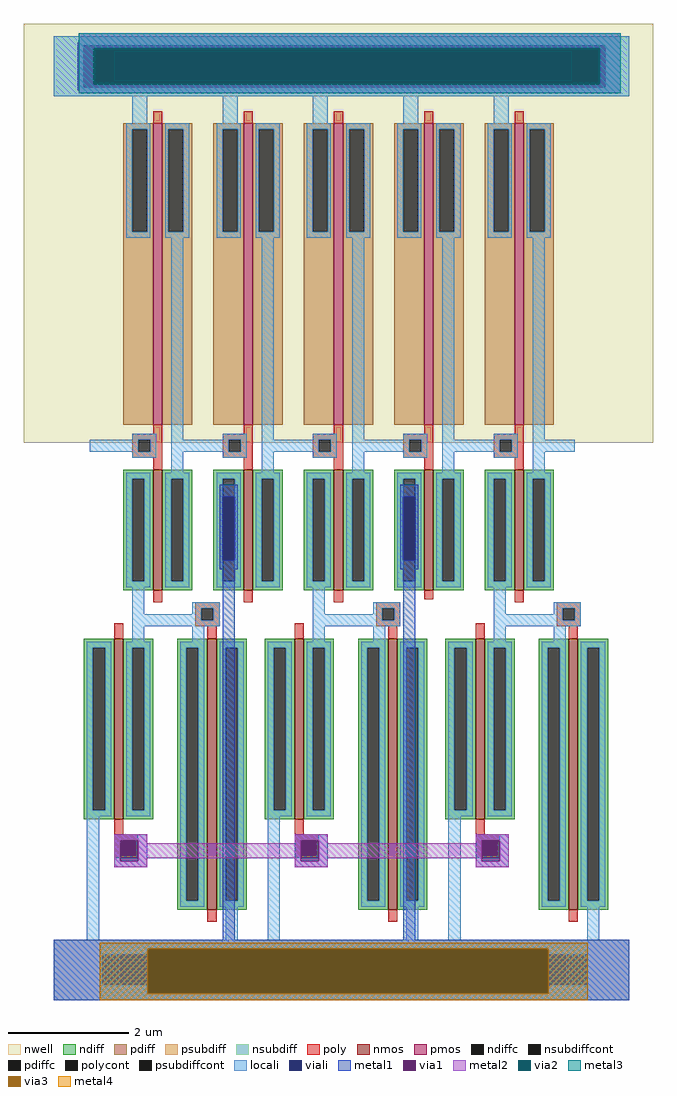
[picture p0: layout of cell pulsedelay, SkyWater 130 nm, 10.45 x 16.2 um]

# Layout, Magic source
magic
tech sky130A
<< nwell >>
rect -31 475 1014 1170
<< nmos >>
rect 184 230 199 430
rect 334 230 349 430
rect 484 230 499 430
rect 634 230 649 430
rect 784 230 799 430
rect 119 -150 134 150
rect 274 -300 289 150
rect 419 -150 434 150
rect 574 -300 589 150
rect 719 -150 734 150
rect 874 -300 889 150
<< pmos >>
rect 184 505 199 1005
rect 334 505 349 1005
rect 484 505 499 1005
rect 634 505 649 1005
rect 784 505 799 1005
<< ndiff >>
rect 134 415 184 430
rect 134 245 149 415
rect 169 245 184 415
rect 134 230 184 245
rect 199 415 249 430
rect 199 245 214 415
rect 234 245 249 415
rect 199 230 249 245
rect 284 415 334 430
rect 284 245 299 415
rect 319 245 334 415
rect 284 230 334 245
rect 349 415 399 430
rect 349 245 364 415
rect 384 245 399 415
rect 349 230 399 245
rect 434 415 484 430
rect 434 245 449 415
rect 469 245 484 415
rect 434 230 484 245
rect 499 415 549 430
rect 499 245 514 415
rect 534 245 549 415
rect 499 230 549 245
rect 584 415 634 430
rect 584 245 599 415
rect 619 245 634 415
rect 584 230 634 245
rect 649 415 699 430
rect 649 245 664 415
rect 684 245 699 415
rect 649 230 699 245
rect 734 415 784 430
rect 734 245 749 415
rect 769 245 784 415
rect 734 230 784 245
rect 799 415 849 430
rect 799 245 814 415
rect 834 245 849 415
rect 799 230 849 245
rect 69 135 119 150
rect 69 -135 84 135
rect 104 -135 119 135
rect 69 -150 119 -135
rect 134 135 184 150
rect 134 -135 149 135
rect 169 -135 184 135
rect 134 -150 184 -135
rect 224 135 274 150
rect 224 -285 239 135
rect 259 -285 274 135
rect 224 -300 274 -285
rect 289 135 339 150
rect 289 -285 304 135
rect 324 -285 339 135
rect 369 135 419 150
rect 369 -135 384 135
rect 404 -135 419 135
rect 369 -150 419 -135
rect 434 135 484 150
rect 434 -135 449 135
rect 469 -135 484 135
rect 434 -150 484 -135
rect 524 135 574 150
rect 289 -300 339 -285
rect 524 -285 539 135
rect 559 -285 574 135
rect 524 -300 574 -285
rect 589 135 639 150
rect 589 -285 604 135
rect 624 -285 639 135
rect 669 135 719 150
rect 669 -135 684 135
rect 704 -135 719 135
rect 669 -150 719 -135
rect 734 135 784 150
rect 734 -135 749 135
rect 769 -135 784 135
rect 734 -150 784 -135
rect 824 135 874 150
rect 589 -300 639 -285
rect 824 -285 839 135
rect 859 -285 874 135
rect 824 -300 874 -285
rect 889 135 939 150
rect 889 -285 904 135
rect 924 -285 939 135
rect 889 -300 939 -285
<< pdiff >>
rect 134 995 184 1005
rect 134 825 149 995
rect 174 825 184 995
rect 134 505 184 825
rect 199 995 249 1005
rect 199 825 209 995
rect 234 825 249 995
rect 199 505 249 825
rect 284 995 334 1005
rect 284 825 299 995
rect 324 825 334 995
rect 284 505 334 825
rect 349 995 399 1005
rect 349 825 359 995
rect 384 825 399 995
rect 349 505 399 825
rect 434 995 484 1005
rect 434 825 449 995
rect 474 825 484 995
rect 434 505 484 825
rect 499 995 549 1005
rect 499 825 509 995
rect 534 825 549 995
rect 499 505 549 825
rect 584 995 634 1005
rect 584 825 599 995
rect 624 825 634 995
rect 584 505 634 825
rect 649 995 699 1005
rect 649 825 659 995
rect 684 825 699 995
rect 649 505 699 825
rect 734 995 784 1005
rect 734 825 749 995
rect 774 825 784 995
rect 734 505 784 825
rect 799 995 849 1005
rect 799 825 809 995
rect 834 825 849 995
rect 799 505 849 825
<< ndiffc >>
rect 149 245 169 415
rect 214 245 234 415
rect 299 245 319 415
rect 364 245 384 415
rect 449 245 469 415
rect 514 245 534 415
rect 599 245 619 415
rect 664 245 684 415
rect 749 245 769 415
rect 814 245 834 415
rect 84 -135 104 135
rect 149 -135 169 135
rect 239 -285 259 135
rect 304 -285 324 135
rect 384 -135 404 135
rect 449 -135 469 135
rect 539 -285 559 135
rect 604 -285 624 135
rect 684 -135 704 135
rect 749 -135 769 135
rect 839 -285 859 135
rect 904 -285 924 135
<< pdiffc >>
rect 149 825 174 995
rect 209 825 234 995
rect 299 825 324 995
rect 359 825 384 995
rect 449 825 474 995
rect 509 825 534 995
rect 599 825 624 995
rect 659 825 684 995
rect 749 825 774 995
rect 809 825 834 995
<< psubdiff >>
rect 19 -375 974 -350
rect 19 -425 99 -375
rect 904 -425 974 -375
rect 19 -450 974 -425
<< nsubdiff >>
rect 19 1135 974 1150
rect 19 1065 69 1135
rect 934 1065 974 1135
rect 19 1050 974 1065
<< psubdiffcont >>
rect 99 -425 904 -375
<< nsubdiffcont >>
rect 69 1065 934 1135
<< poly >>
rect 184 1005 199 1025
rect 334 1005 349 1025
rect 484 1005 499 1025
rect 634 1005 649 1025
rect 784 1005 799 1025
rect 184 490 199 505
rect 334 490 349 505
rect 484 490 499 505
rect 634 490 649 505
rect 784 490 799 505
rect 149 480 199 490
rect 149 460 159 480
rect 179 460 199 480
rect 149 450 199 460
rect 299 480 349 490
rect 299 460 309 480
rect 329 460 349 480
rect 299 450 349 460
rect 449 480 499 490
rect 449 460 459 480
rect 479 460 499 480
rect 449 450 499 460
rect 599 480 649 490
rect 599 460 609 480
rect 629 460 649 480
rect 599 450 649 460
rect 749 480 799 490
rect 749 460 759 480
rect 779 460 799 480
rect 749 450 799 460
rect 184 430 199 450
rect 334 430 349 450
rect 484 430 499 450
rect 634 430 649 450
rect 784 430 799 450
rect 184 210 199 230
rect 334 210 349 230
rect 484 210 499 230
rect 634 215 649 230
rect 784 210 799 230
rect 254 200 294 210
rect 254 180 264 200
rect 284 180 294 200
rect 119 150 134 175
rect 254 170 294 180
rect 554 200 594 210
rect 554 180 564 200
rect 584 180 594 200
rect 274 150 289 170
rect 419 150 434 175
rect 554 170 594 180
rect 854 200 894 210
rect 854 180 864 200
rect 884 180 894 200
rect 574 150 589 170
rect 719 150 734 175
rect 854 170 894 180
rect 874 150 889 170
rect 119 -175 134 -150
rect 119 -185 159 -175
rect 119 -205 129 -185
rect 149 -205 159 -185
rect 119 -215 159 -205
rect 419 -175 434 -150
rect 419 -185 459 -175
rect 419 -205 429 -185
rect 449 -205 459 -185
rect 419 -215 459 -205
rect 719 -175 734 -150
rect 719 -185 759 -175
rect 719 -205 729 -185
rect 749 -205 759 -185
rect 719 -215 759 -205
rect 274 -320 289 -300
rect 574 -320 589 -300
rect 874 -320 889 -300
<< polycont >>
rect 159 460 179 480
rect 309 460 329 480
rect 459 460 479 480
rect 609 460 629 480
rect 759 460 779 480
rect 264 180 284 200
rect 564 180 584 200
rect 864 180 884 200
rect 129 -205 149 -185
rect 429 -205 449 -185
rect 729 -205 749 -185
<< locali >>
rect 19 1135 974 1150
rect 19 1065 69 1135
rect 934 1065 974 1135
rect 19 1050 974 1065
rect 149 1005 174 1050
rect 299 1005 324 1050
rect 449 1005 474 1050
rect 599 1005 624 1050
rect 749 1005 774 1050
rect 139 995 179 1005
rect 139 825 149 995
rect 174 825 179 995
rect 139 815 179 825
rect 204 995 244 1005
rect 204 825 209 995
rect 234 825 244 995
rect 204 815 244 825
rect 289 995 329 1005
rect 289 825 299 995
rect 324 825 329 995
rect 289 815 329 825
rect 354 995 394 1005
rect 354 825 359 995
rect 384 825 394 995
rect 354 815 394 825
rect 439 995 479 1005
rect 439 825 449 995
rect 474 825 479 995
rect 439 815 479 825
rect 504 995 544 1005
rect 504 825 509 995
rect 534 825 544 995
rect 504 815 544 825
rect 589 995 629 1005
rect 589 825 599 995
rect 624 825 629 995
rect 589 815 629 825
rect 654 995 694 1005
rect 654 825 659 995
rect 684 825 694 995
rect 654 815 694 825
rect 739 995 779 1005
rect 739 825 749 995
rect 774 825 779 995
rect 739 815 779 825
rect 804 995 844 1005
rect 804 825 809 995
rect 834 825 844 995
rect 804 815 844 825
rect 149 480 189 490
rect 79 460 159 480
rect 179 460 189 480
rect 149 450 189 460
rect 214 480 234 815
rect 299 480 339 490
rect 214 460 309 480
rect 329 460 339 480
rect 214 425 234 460
rect 299 450 339 460
rect 364 480 384 815
rect 449 480 489 490
rect 364 460 459 480
rect 479 460 489 480
rect 364 425 384 460
rect 449 450 489 460
rect 514 480 534 815
rect 599 480 639 490
rect 514 460 609 480
rect 629 460 639 480
rect 514 425 534 460
rect 599 450 639 460
rect 664 480 684 815
rect 749 480 789 490
rect 664 460 759 480
rect 779 460 789 480
rect 664 425 684 460
rect 749 450 789 460
rect 814 480 834 815
rect 814 460 884 480
rect 814 425 834 460
rect 139 415 179 425
rect 139 245 149 415
rect 169 245 179 415
rect 139 235 179 245
rect 204 415 244 425
rect 204 245 214 415
rect 234 245 244 415
rect 204 235 244 245
rect 289 415 329 425
rect 289 245 299 415
rect 319 245 329 415
rect 289 235 329 245
rect 354 415 394 425
rect 354 245 364 415
rect 384 245 394 415
rect 354 235 394 245
rect 439 415 479 425
rect 439 245 449 415
rect 469 245 479 415
rect 439 235 479 245
rect 504 415 544 425
rect 504 245 514 415
rect 534 245 544 415
rect 504 235 544 245
rect 589 415 629 425
rect 589 245 599 415
rect 619 245 629 415
rect 589 235 629 245
rect 654 415 694 425
rect 654 245 664 415
rect 684 245 694 415
rect 654 235 694 245
rect 739 415 779 425
rect 739 245 749 415
rect 769 245 779 415
rect 739 235 779 245
rect 804 415 844 425
rect 804 245 814 415
rect 834 245 844 415
rect 804 235 844 245
rect 149 190 169 235
rect 249 200 294 210
rect 249 190 264 200
rect 149 180 264 190
rect 284 180 294 200
rect 149 170 294 180
rect 449 190 469 235
rect 549 200 594 210
rect 549 190 564 200
rect 449 180 564 190
rect 584 180 594 200
rect 449 170 594 180
rect 749 190 769 235
rect 849 200 894 210
rect 849 190 864 200
rect 749 180 864 190
rect 884 180 894 200
rect 749 170 894 180
rect 149 145 169 170
rect 249 145 269 170
rect 449 145 469 170
rect 549 145 569 170
rect 749 145 769 170
rect 849 145 869 170
rect 74 135 114 145
rect 74 -135 84 135
rect 104 -135 114 135
rect 74 -145 114 -135
rect 139 135 179 145
rect 139 -135 149 135
rect 169 -135 179 135
rect 139 -145 179 -135
rect 229 135 269 145
rect 74 -350 94 -145
rect 119 -185 159 -175
rect 119 -210 129 -185
rect 154 -210 159 -185
rect 119 -215 159 -210
rect 229 -285 239 135
rect 259 -285 269 135
rect 229 -295 269 -285
rect 294 135 334 145
rect 294 -285 304 135
rect 324 -285 334 135
rect 294 -295 334 -285
rect 374 135 414 145
rect 374 -135 384 135
rect 404 -135 414 135
rect 374 -145 414 -135
rect 439 135 479 145
rect 439 -135 449 135
rect 469 -135 479 135
rect 439 -145 479 -135
rect 529 135 569 145
rect 304 -350 324 -295
rect 374 -350 394 -145
rect 419 -185 459 -175
rect 419 -210 429 -185
rect 454 -210 459 -185
rect 419 -215 459 -210
rect 529 -285 539 135
rect 559 -285 569 135
rect 529 -295 569 -285
rect 594 135 634 145
rect 594 -285 604 135
rect 624 -285 634 135
rect 594 -295 634 -285
rect 674 135 714 145
rect 674 -135 684 135
rect 704 -135 714 135
rect 674 -145 714 -135
rect 739 135 779 145
rect 739 -135 749 135
rect 769 -135 779 135
rect 739 -145 779 -135
rect 829 135 869 145
rect 604 -350 624 -295
rect 674 -350 694 -145
rect 719 -185 759 -175
rect 719 -210 729 -185
rect 754 -210 759 -185
rect 719 -215 759 -210
rect 829 -285 839 135
rect 859 -285 869 135
rect 829 -295 869 -285
rect 894 135 934 145
rect 894 -285 904 135
rect 924 -285 934 135
rect 894 -295 934 -285
rect 904 -350 924 -295
rect 19 -375 974 -350
rect 19 -425 99 -375
rect 904 -425 974 -375
rect 19 -450 974 -425
<< viali >>
rect 119 1075 879 1125
rect 299 280 319 385
rect 599 280 619 385
rect 129 -205 149 -185
rect 149 -205 154 -185
rect 129 -210 154 -205
rect 429 -205 449 -185
rect 449 -205 454 -185
rect 429 -210 454 -205
rect 729 -205 749 -185
rect 749 -205 754 -185
rect 729 -210 754 -205
rect 129 -425 869 -375
<< metal1 >>
rect 60 1140 960 1155
rect 59 1130 960 1140
rect 59 1070 85 1130
rect 925 1070 960 1130
rect 59 1060 960 1070
rect 60 1055 960 1060
rect 294 385 324 405
rect 294 280 299 385
rect 319 280 324 385
rect 294 265 324 280
rect 594 385 624 405
rect 594 280 599 385
rect 619 280 624 385
rect 594 265 624 280
rect 119 -185 174 -175
rect 119 -220 129 -185
rect 159 -220 174 -185
rect 119 -230 174 -220
rect 299 -350 319 265
rect 419 -185 474 -175
rect 419 -220 429 -185
rect 459 -220 474 -185
rect 419 -230 474 -220
rect 599 -350 619 265
rect 719 -185 774 -175
rect 719 -220 729 -185
rect 759 -220 774 -185
rect 719 -230 774 -220
rect 19 -365 974 -350
rect 19 -375 175 -365
rect 840 -375 974 -365
rect 19 -425 129 -375
rect 869 -425 974 -375
rect 19 -440 175 -425
rect 840 -440 974 -425
rect 19 -450 974 -440
<< via1 >>
rect 85 1125 925 1130
rect 85 1075 119 1125
rect 119 1075 879 1125
rect 879 1075 925 1125
rect 85 1070 925 1075
rect 129 -210 154 -185
rect 154 -210 159 -185
rect 129 -220 159 -210
rect 429 -210 454 -185
rect 454 -210 459 -185
rect 429 -220 459 -210
rect 729 -210 754 -185
rect 754 -210 759 -185
rect 729 -220 759 -210
rect 175 -375 840 -365
rect 175 -425 840 -375
rect 175 -440 840 -425
<< metal2 >>
rect 60 1130 960 1155
rect 60 1070 85 1130
rect 925 1070 960 1130
rect 60 1055 960 1070
rect 119 -185 174 -175
rect 119 -220 129 -185
rect 159 -190 174 -185
rect 419 -185 474 -175
rect 419 -190 429 -185
rect 159 -215 429 -190
rect 159 -220 174 -215
rect 119 -230 174 -220
rect 419 -220 429 -215
rect 459 -190 474 -185
rect 719 -185 774 -175
rect 719 -190 729 -185
rect 459 -215 729 -190
rect 459 -220 474 -215
rect 419 -230 474 -220
rect 719 -220 729 -215
rect 759 -220 774 -185
rect 719 -230 774 -220
rect 95 -365 905 -355
rect 95 -440 175 -365
rect 840 -440 905 -365
rect 95 -450 905 -440
<< via2 >>
rect 85 1070 925 1130
rect 175 -440 840 -365
<< metal3 >>
rect 60 1130 960 1155
rect 60 1070 85 1130
rect 925 1070 960 1130
rect 60 1055 960 1070
rect 95 -365 905 -355
rect 95 -440 175 -365
rect 840 -440 905 -365
rect 95 -450 905 -440
<< via3 >>
rect 175 -440 840 -365
<< metal4 >>
rect 95 -365 905 -355
rect 95 -440 175 -365
rect 840 -440 905 -365
rect 95 -450 905 -440
<< end >>
